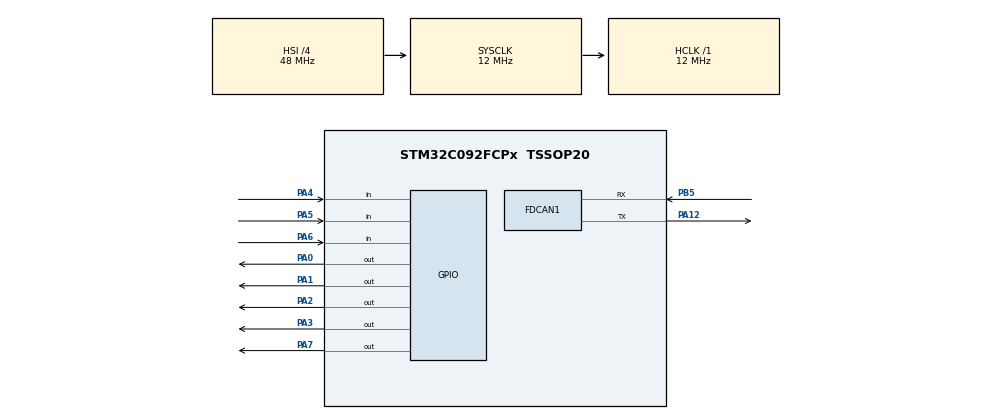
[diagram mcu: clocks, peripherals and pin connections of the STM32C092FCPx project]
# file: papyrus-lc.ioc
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FDCAN1.AutoRetransmission=ENABLE
FDCAN1.CalculateBaudRateNominal=187500
FDCAN1.CalculateTimeBitNominal=5333
FDCAN1.CalculateTimeQuantumNominal=333.3333333333333
FDCAN1.NominalPrescaler=4
FDCAN1.NominalTimeSeg1=13
FDCAN1.NominalTimeSeg2=2
FDCAN1.StdFiltersNbr=1
Mcu.Family=STM32C0
Mcu.Name=STM32C092FCPx
Mcu.Package=TSSOP20
PA0.Signal=GPIO_Output
PA1.Signal=GPIO_Output
PA12\ [PA10].Mode=FDCAN_Activate
PA12\ [PA10].Signal=FDCAN1_TX
PA14-BOOT0__PA15.StandardMode=true
PA2.Signal=GPIO_Output
PA3.Signal=GPIO_Output
PA4.Signal=GPIO_Input
PA5.Signal=GPIO_Input
PA6.Signal=GPIO_Input
PA7.Signal=GPIO_Output
PB0__PB1__PB2__PA8.StandardMode=true
PB3__PB4__PB5__PB6.StandardMode=true
PB5.Mode=FDCAN_Activate
PB5.Signal=FDCAN1_RX
PB7__PB8.StandardMode=true
ProjectManager.HeapSize=0x200
ProjectManager.StackSize=0x400
ProjectManager.TargetToolchain=Makefile
RCC.ADCFreq_Value=12000000
RCC.AHBFreq_Value=12000000
RCC.CortexFreq_Value=12000000
RCC.EXTERNAL_CLOCK_VALUE=12288000
RCC.HCLKFreq_Value=12000000
RCC.HSE_VALUE=8000000
RCC.HSI_VALUE=48000000
RCC.LSE_VALUE=32768
RCC.SYSCLKFreq_VALUE=12000000
board=custom

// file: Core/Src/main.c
/* USER CODE BEGIN Header */
/**
  ******************************************************************************
  * @file           : main.c
  * @brief          : Main program body
  ******************************************************************************
  * @attention
  *
  * Copyright (c) 2026 STMicroelectronics.
  * All rights reserved.
  *
  * This software is licensed under terms that can be found in the LICENSE file
  * in the root directory of this software component.
  * If no LICENSE file comes with this software, it is provided AS-IS.
  *
  ******************************************************************************
  */
/* USER CODE END Header */
#include "main.h"

/* USER CODE BEGIN PTD */
#define CAN_CMD_ID 501
/* USER CODE END PTD */

FDCAN_HandleTypeDef hfdcan1;

void SystemClock_Config(void);
static void MX_GPIO_Init(void);
static void MX_FDCAN1_Init(void);

/* USER CODE BEGIN 0 */
float test_data = 0;

// calibration parameters
typedef struct {
  float tare;
  float scaleFactor;
} HX711_Calibration;

// default values
HX711_Calibration CS_0 = {
  .tare = 29811,
  .scaleFactor = 1.47928989
};
HX711_Calibration CS_1 = {
  .tare = 0,
  .scaleFactor = 1
};
HX711_Calibration CS_2 = {
  .tare = 0,
  .scaleFactor = 1
};

uint16_t GPIO_PIN_DOUT;
uint16_t GPIO_PIN_SCK;

void CAN_SendAck(uint8_t *data, uint8_t len)
{
  FDCAN_TxHeaderTypeDef txHeader = {0};

  txHeader.Identifier = CAN_CMD_ID;
  txHeader.IdType = FDCAN_STANDARD_ID;
  txHeader.TxFrameType = FDCAN_DATA_FRAME;
  txHeader.DataLength = len;
  txHeader.ErrorStateIndicator = FDCAN_ESI_ACTIVE;
  txHeader.BitRateSwitch = FDCAN_BRS_OFF;
  txHeader.FDFormat = FDCAN_CLASSIC_CAN;
  txHeader.TxEventFifoControl = FDCAN_NO_TX_EVENTS;
  txHeader.MessageMarker = 0;

  while (HAL_FDCAN_GetTxFifoFreeLevel(&hfdcan1) == 0);
  HAL_FDCAN_AddMessageToTxFifoQ(&hfdcan1, &txHeader, data);
}

/**
 * @brief Retrieves the raw data from the specified HX711 channel and IC via bitbanging.
 * Data should only be retrieved if `DOUT` on the desired IC is set to `LOW`.
 * @param channel (uint8_t) set to 0 (channel A) or 1 (channel B)
 * @param cs (uint8_t) which load cell to read from {0, 1, 2}
 * @param gain (uint8_t) if channel 0, set to 128 (0) or 64 (1)
 * @returns (uint32_t) Data in the lower 6 bytes, in 2's complement format.
 * if `0xFF00000x`, an error has occured
 * if `0x800000`, minimum. if `0x7FFFFF`, maximum.
 */
uint32_t HX711_ReadRaw(uint8_t channel, uint8_t cs, uint8_t gain) {
  // error status codes
  uint32_t ERROR_NOT_READY = 0xFF000001;
  uint32_t ERROR_INVALID_ARG = 0xFF000002;
  uint32_t ERROR_BUFFER = 0xFF000003;

  uint32_t pulses;
  uint32_t buffer = 0;

  switch (channel) {
    case 0:
      if (gain) {
        pulses = 27;
      } else {
        pulses = 25;
      }
      break;
    case 1:
      pulses = 26;
      break;
    default:
      return ERROR_INVALID_ARG;
  }

  switch (cs) {
    case 0:
      GPIO_PIN_DOUT = GPIO_PIN_6;
      GPIO_PIN_SCK = GPIO_PIN_1;
      break;
    case 1:
      GPIO_PIN_DOUT = GPIO_PIN_5;
      GPIO_PIN_SCK = GPIO_PIN_2;
      break;
    case 2:
      GPIO_PIN_DOUT = GPIO_PIN_4;
      GPIO_PIN_SCK = GPIO_PIN_3;
      break;
    default:
      return ERROR_INVALID_ARG;
  }

  // check that this is set to LOW
  if (HAL_GPIO_ReadPin(GPIOA, GPIO_PIN_DOUT)) {
    return ERROR_NOT_READY;
  }

  // pulse SCK and put data onto the buffer
  // remember to set SCK to LOW (if it somehow isn't)
  HAL_GPIO_WritePin(GPIOA, GPIO_PIN_SCK, GPIO_PIN_RESET);
  uint32_t idx = pulses-1;
  pulses <<= 1;
  uint8_t clock_status = 0;
  while (pulses > 0) {
    HAL_GPIO_TogglePin(GPIOA, GPIO_PIN_SCK);
    clock_status ^= 1;
    if (clock_status) {
      uint32_t data = HAL_GPIO_ReadPin(GPIOA, GPIO_PIN_DOUT);
      buffer |= (data << idx);
      idx--;
    }
    pulses--;
  }
  HAL_GPIO_WritePin(GPIOA, GPIO_PIN_SCK, GPIO_PIN_RESET);
  // should be set to HIGH when done
  if (HAL_GPIO_ReadPin(GPIOA, GPIO_PIN_DOUT)) {
    return buffer;
  }
  return ERROR_BUFFER;
}

/**
 * @brief Retrieves the sign extended data from the specified HX711 channel and IC via bitbanging.
 * Data should only be retrieved if `DOUT` on the desired IC is set to `LOW`.
 * @param channel (uint8_t) set to 0 (channel A) or 1 (channel B)
 * @param cs (uint8_t) which load cell to read from {0, 1, 2}
 * @param gain (uint8_t) if channel 0, set to 128 (0) or 64 (1)
 * @returns (float) Data.
 * if `0xFF00000x`, an error has occured
 * if `0x800000`, minimum. if `0x7FFFFF`, maximum.
 */
float HX711_ReadData(uint8_t channel, uint8_t cs, uint8_t gain) {
  HX711_Calibration *cal;
  switch (cs) {
    case 0:
      cal = &CS_0;
      break;
    case 1:
      cal = &CS_1;
      break;
    case 2:
      cal = &CS_2;
      break;
    default:
      cal = &CS_0;
      break;
  }
  uint32_t data = HX711_ReadRaw(channel, cs, gain);
  // if we have an error, return that error
  if (data & 0xFF000000) {
    return (float) data;
  }
  int32_t signExtended = (int32_t) (data << 8) >> 8;
  return (float)(signExtended - cal->tare) * cal->scaleFactor;
}

/**
 * @brief Given an `n`, will give the average.
 */
int32_t HX711_AverageLastNRaw(uint8_t cs, uint32_t n) {
  int32_t sum = 0;
  uint8_t i = 0;
  while (i < n) {
    if(!HAL_GPIO_ReadPin(GPIOA, GPIO_PIN_DOUT)) {
      uint32_t data = HX711_ReadRaw(0, cs, 0);
      int32_t signExtended = (int32_t) (data << 8) >> 8;
      sum += signExtended;
      i++;
    }
  }
  return sum/n;
}

float HX711_AverageLastN(uint8_t cs, uint32_t n) {
  float sum = 0;
  uint8_t i = 0;
  while (i < n) {
    if(!HAL_GPIO_ReadPin(GPIOA, GPIO_PIN_DOUT)) {
      float data = HX711_ReadData(0, cs, 0);
      sum += data;
      i++;
    }
  }
  return sum/n;
}

/**
 * @brief Returns and sets the "tare" (zero) value.
 * @param cal (HX711_Calibration) CS_1, CS_2, or CS_3
 * @param cs (uint8_t) one of {0, 1, 2}
 */
int32_t HX711_Tare(HX711_Calibration *cal, uint8_t cs) {
  int32_t data = HX711_AverageLastNRaw(cs, 10);
  cal->tare = data;
  return data;
}

/**
 * @brief Given a known weight, will return the "scale factor" needed to calibrate the readings.
 * The known weight is by default set in code.
 * This will also set the scaleFactor internally.
 * The scale must be tare'd first.
 * @param cal (HX711_Calibration) CS_1, CS_2, or CS_3
 * @param cs (uint8_t) one of {0, 1, 2}
 */
float HX711_ScaleFactor(HX711_Calibration *cal, uint8_t cs) {
  int32_t data = HX711_AverageLastNRaw(cs, 10);
  float weight = 750.0;
  float scaleFactor = weight/((float) (data - cal->tare));
  cal->scaleFactor = scaleFactor;
  return scaleFactor;
}

float HX711_Test() {
  return HX711_ReadData(0, 0, 0);
}
/* USER CODE END 0 */

int main(void)
{

  /* MCU Configuration--------------------------------------------------------*/

  /* Reset of all peripherals, Initializes the Flash interface and the Systick. */
  HAL_Init();

  /* Configure the system clock */
  SystemClock_Config();

  /* Initialize all configured peripherals */
  MX_GPIO_Init();
  MX_FDCAN1_Init();
  /* USER CODE BEGIN 2 */
  HAL_FDCAN_Start(&hfdcan1);

  FDCAN_RxHeaderTypeDef rxHeader;
  uint8_t rxData[8];
  uint8_t txData[8];

  uint32_t lastTick = 0;

  HAL_GPIO_WritePin(GPIOA, GPIO_PIN_7, GPIO_PIN_SET);
  //HX711_Tare(&CS_0, 0);
  /* USER CODE END 2 */

  /* Infinite loop */
  /* USER CODE BEGIN WHILE */
  while (1)
  {
    // simple blink
    if (HAL_GetTick() - lastTick > 1000) {
      HAL_GPIO_TogglePin(GPIOA, GPIO_PIN_0);
      lastTick = HAL_GetTick();
    }

    //test_data = HX711_AverageLastN(0, 10);
    //HX711_Tare(&CS_0, 0);
    //HX711_ScaleFactor(&CS_0, 0);
    /* USER CODE END WHILE */

    /* USER CODE BEGIN 3 */

    // TODO: change boilerplate code from pt
    if (HAL_FDCAN_GetRxFifoFillLevel(&hfdcan1, FDCAN_RX_FIFO0) > 0)
    {
      HAL_FDCAN_GetRxMessage(&hfdcan1, FDCAN_RX_FIFO0, &rxHeader, rxData);

      txData[0] = rxData[0];
      txData[1] = 0x00; // OK

      switch (rxData[0])
      {
        case 0x00:
          txData[1] = 0x05; break;
        case 0x01:
          HX711_ReadData(0, 0, 0);
          *(uint32_t*)(txData+1) = HX711_ReadData(0, 0, 0);
          CAN_SendAck(txData, 5);
          continue;
        case 0x02:
          HX711_ReadData(0, 1, 0);
          *(uint32_t*)(txData+1) = HX711_ReadData(0, 1, 0);
          CAN_SendAck(txData, 5);
          continue;
        case 0x03:
          HX711_ReadData(0, 2, 0);
          *(uint32_t*)(txData+1) = HX711_ReadData(0, 2, 0);
          CAN_SendAck(txData, 5);
          continue;
        case 0x04:
          HX711_ReadData(1, 0, 0);
          *(uint32_t*)(txData+1) = HX711_ReadData(1, 0, 0);
          CAN_SendAck(txData, 5);
          continue;
        case 0x05:
          HX711_ReadData(1, 1, 0);
          *(uint32_t*)(txData+1) = HX711_ReadData(1, 1, 0);
          CAN_SendAck(txData, 5);
          continue;
        case 0x06:
          HX711_ReadData(1, 2, 0);
          *(uint32_t*)(txData+1) = HX711_ReadData(1, 2, 0);
          CAN_SendAck(txData, 5);
          continue;
        case 0x07:
          HX711_ReadData(0, 0, 1);
          *(uint32_t*)(txData+1) = HX711_ReadData(0, 0, 1);
          CAN_SendAck(txData, 5);
          continue;
        case 0x08:
          HX711_ReadData(0, 1, 1);
          *(uint32_t*)(txData+1) = HX711_ReadData(0, 1, 1);
          CAN_SendAck(txData, 5);
          continue;
        case 0x09:
          HX711_ReadData(0, 2, 1);
          *(uint32_t*)(txData+1) = HX711_ReadData(0, 2, 1);
          CAN_SendAck(txData, 5);
          continue;
        case 0x10:
          *(uint32_t*)(txData+1) = HX711_Tare(&CS_0, 0);
          CAN_SendAck(txData, 5);
          continue;
        case 0x11:
          *(uint32_t*)(txData+1) = HX711_Tare(&CS_1, 1);
          CAN_SendAck(txData, 5);
          continue;
        case 0x12:
          *(uint32_t*)(txData+1) = HX711_Tare(&CS_2, 2);
          CAN_SendAck(txData, 5);
          continue;
        case 0x13:
          *(uint32_t*)(txData+1) = HX711_ScaleFactor(&CS_0, 0);
          CAN_SendAck(txData, 5);
          continue;
        case 0x14:
          *(uint32_t*)(txData+1) = HX711_ScaleFactor(&CS_0, 1);
          CAN_SendAck(txData, 5);
          continue;
        case 0x15:
          *(uint32_t*)(txData+1) = HX711_ScaleFactor(&CS_2, 2);
          CAN_SendAck(txData, 5);
          continue;
        case 0xFF:
          CAN_SendAck(txData, 2);
          HAL_Delay(10);
          NVIC_SystemReset();
          break;

        default:
          continue;
      }

      CAN_SendAck(txData, 2);
    }
  }
  /* USER CODE END 3 */
}

void SystemClock_Config(void)
{
  RCC_OscInitTypeDef RCC_OscInitStruct = {0};
  RCC_ClkInitTypeDef RCC_ClkInitStruct = {0};

  __HAL_FLASH_SET_LATENCY(FLASH_LATENCY_0);

  /** Initializes the RCC Oscillators according to the specified parameters
  * in the RCC_OscInitTypeDef structure.
  */
  RCC_OscInitStruct.OscillatorType = RCC_OSCILLATORTYPE_HSI;
  RCC_OscInitStruct.HSIState = RCC_HSI_ON;
  RCC_OscInitStruct.HSIDiv = RCC_HSI_DIV4;
  RCC_OscInitStruct.HSICalibrationValue = RCC_HSICALIBRATION_DEFAULT;
  if (HAL_RCC_OscConfig(&RCC_OscInitStruct) != HAL_OK)
  {
    Error_Handler();
  }

  /** Initializes the CPU, AHB and APB buses clocks
  */
  RCC_ClkInitStruct.ClockType = RCC_CLOCKTYPE_HCLK|RCC_CLOCKTYPE_SYSCLK
                              |RCC_CLOCKTYPE_PCLK1;
  RCC_ClkInitStruct.SYSCLKSource = RCC_SYSCLKSOURCE_HSI;
  RCC_ClkInitStruct.SYSCLKDivider = RCC_SYSCLK_DIV1;
  RCC_ClkInitStruct.AHBCLKDivider = RCC_HCLK_DIV1;
  RCC_ClkInitStruct.APB1CLKDivider = RCC_APB1_DIV1;

  if (HAL_RCC_ClockConfig(&RCC_ClkInitStruct, FLASH_LATENCY_0) != HAL_OK)
  {
    Error_Handler();
  }
}

static void MX_FDCAN1_Init(void)
{

  hfdcan1.Instance = FDCAN1;
  hfdcan1.Init.ClockDivider = FDCAN_CLOCK_DIV1;
  hfdcan1.Init.FrameFormat = FDCAN_FRAME_CLASSIC;
  hfdcan1.Init.Mode = FDCAN_MODE_NORMAL;
  hfdcan1.Init.AutoRetransmission = ENABLE;
  hfdcan1.Init.TransmitPause = DISABLE;
  hfdcan1.Init.ProtocolException = DISABLE;
  hfdcan1.Init.NominalPrescaler = 4;
  hfdcan1.Init.NominalSyncJumpWidth = 1;
  hfdcan1.Init.NominalTimeSeg1 = 13;
  hfdcan1.Init.NominalTimeSeg2 = 2;
  hfdcan1.Init.DataPrescaler = 1;
  hfdcan1.Init.DataSyncJumpWidth = 1;
  hfdcan1.Init.DataTimeSeg1 = 1;
  hfdcan1.Init.DataTimeSeg2 = 1;
  hfdcan1.Init.StdFiltersNbr = 1;
  hfdcan1.Init.ExtFiltersNbr = 0;
  hfdcan1.Init.TxFifoQueueMode = FDCAN_TX_FIFO_OPERATION;
  if (HAL_FDCAN_Init(&hfdcan1) != HAL_OK)
  {
    Error_Handler();
  }
  /* USER CODE BEGIN FDCAN1_Init 2 */
  FDCAN_FilterTypeDef filter = {0};
  filter.IdType = FDCAN_STANDARD_ID;
  filter.FilterIndex = 0;
  filter.FilterType = FDCAN_FILTER_DUAL;
  filter.FilterConfig = FDCAN_FILTER_TO_RXFIFO0;
  filter.FilterID1 = CAN_CMD_ID;
  filter.FilterID2 = 0;
  HAL_FDCAN_ConfigFilter(&hfdcan1, &filter);
  HAL_FDCAN_ConfigGlobalFilter(
    &hfdcan1,
    FDCAN_REJECT,  // Non-matching standard frames
    FDCAN_REJECT,  // Non-matching extended frames
    FDCAN_REJECT,  // Reject remote standard frames
    FDCAN_REJECT   // Reject remote extended frames
  );
  /* USER CODE END FDCAN1_Init 2 */

}

static void MX_GPIO_Init(void)
{
  GPIO_InitTypeDef GPIO_InitStruct = {0};

  /* GPIO Ports Clock Enable */
  __HAL_RCC_GPIOA_CLK_ENABLE();
  __HAL_RCC_GPIOB_CLK_ENABLE();

  /*Configure GPIO pin Output Level */
  HAL_GPIO_WritePin(GPIOA, GPIO_PIN_0|GPIO_PIN_1|GPIO_PIN_2|GPIO_PIN_3
                          |GPIO_PIN_7, GPIO_PIN_RESET);

  /*Configure GPIO pins : PA0 PA1 PA2 PA3
                           PA7 */
  GPIO_InitStruct.Pin = GPIO_PIN_0|GPIO_PIN_1|GPIO_PIN_2|GPIO_PIN_3
                          |GPIO_PIN_7;
  GPIO_InitStruct.Mode = GPIO_MODE_OUTPUT_PP;
  GPIO_InitStruct.Pull = GPIO_NOPULL;
  GPIO_InitStruct.Speed = GPIO_SPEED_FREQ_LOW;
  HAL_GPIO_Init(GPIOA, &GPIO_InitStruct);

  /*Configure GPIO pins : PA4 PA5 PA6 */
  GPIO_InitStruct.Pin = GPIO_PIN_4|GPIO_PIN_5|GPIO_PIN_6;
  GPIO_InitStruct.Mode = GPIO_MODE_INPUT;
  GPIO_InitStruct.Pull = GPIO_NOPULL;
  HAL_GPIO_Init(GPIOA, &GPIO_InitStruct);

}

void Error_Handler(void)
{
  __disable_irq();
  while (1)
  {
  }
}
